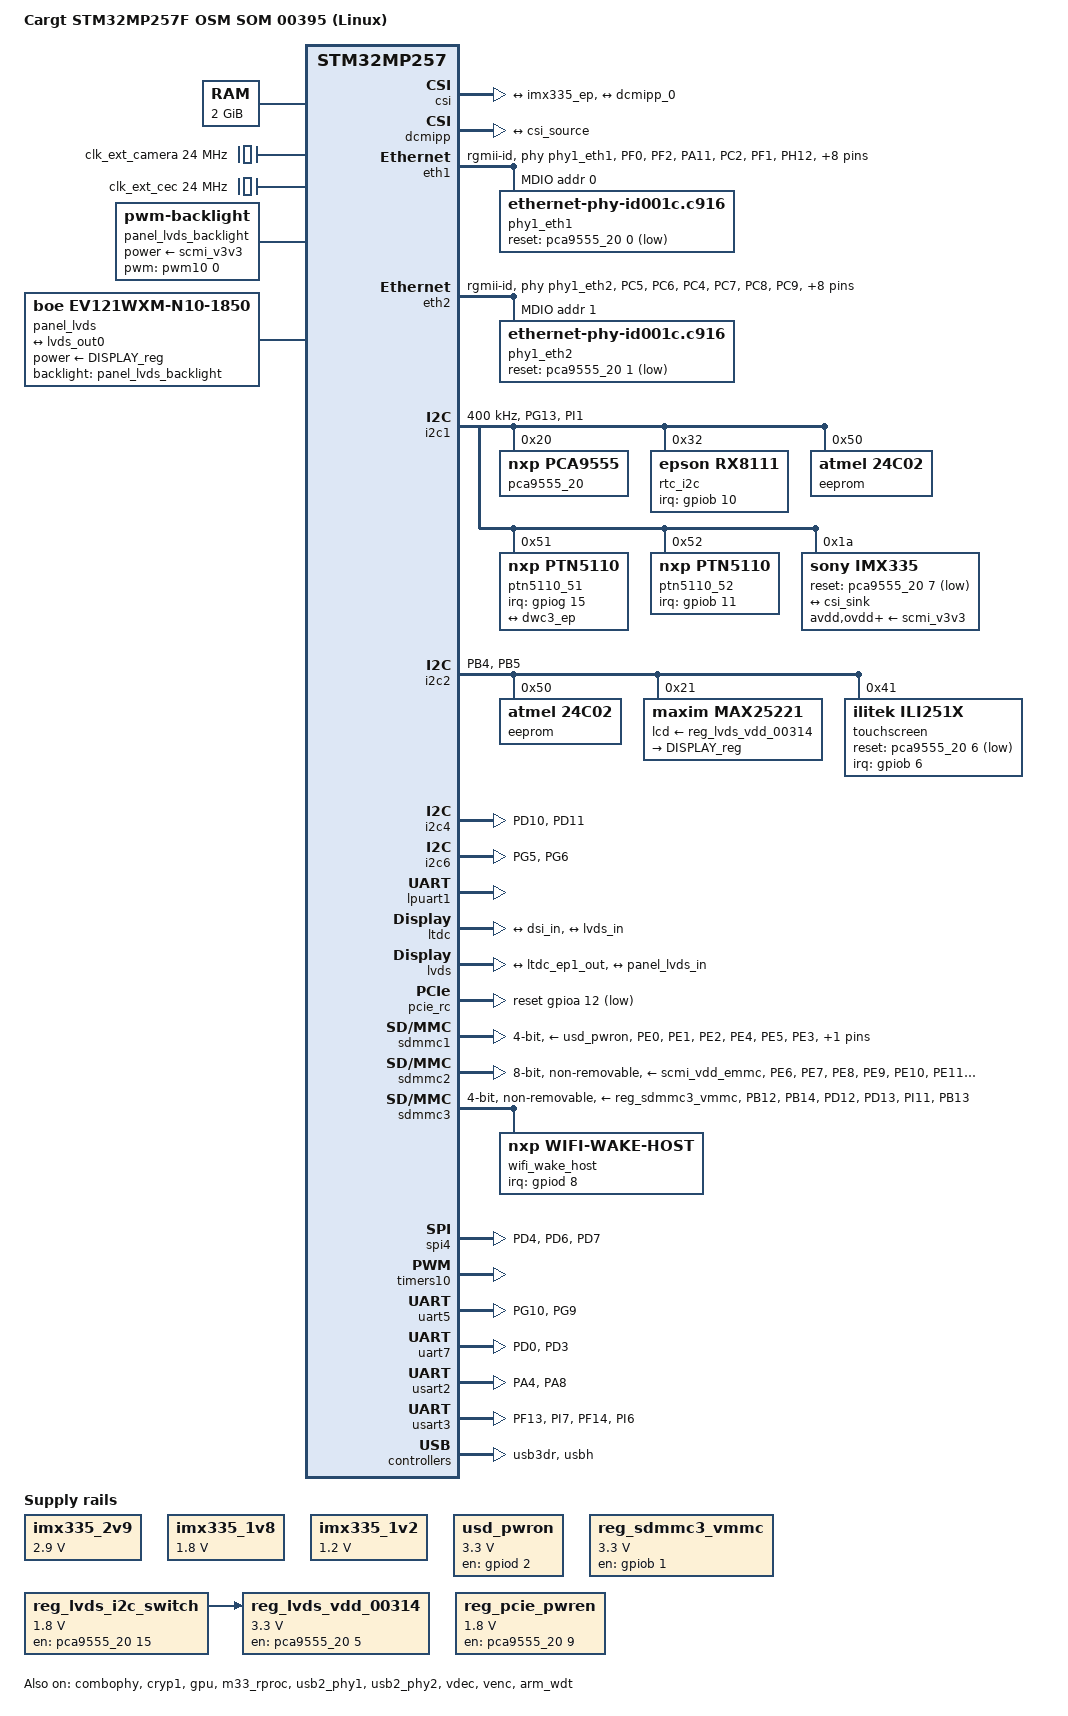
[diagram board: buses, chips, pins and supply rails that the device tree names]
// SPDX-License-Identifier: (GPL-2.0-only OR BSD-3-Clause)
/*
 * Copyright (C) 2025, STMicroelectronics - All Rights Reserved
 * Author: STM32CubeMX code generation for STMicroelectronics.
 */

/* For more information on Device Tree configuration, please refer to
 * https://wiki.st.com/stm32mpu/wiki/Category:Device_tree_configuration
 */

/dts-v1/;

#include <dt-bindings/pinctrl/stm32-pinfunc.h>
#include "stm32mp257.dtsi"
#include "stm32mp25xf.dtsi"
#include "stm32mp257f-cargt-00395-00365v3-resmem.dtsi"
#include "stm32mp25xxak-pinctrl.dtsi"

/* USER CODE BEGIN includes */
#include <dt-bindings/gpio/gpio.h>
#include <dt-bindings/input/input.h>
#include <dt-bindings/leds/common.h>
#include <dt-bindings/rtc/rtc-stm32.h>
#include "dt-bindings/usb/pd.h"
#include <dt-bindings/regulator/st,stm32mp25-regulator.h>
/* USER CODE END includes */

/ {
	model = "STMicroelectronics custom STM32CubeMX board - openstlinux-6.6-yocto-scarthgap-mpu-v25.06.11";
	compatible = "st,stm32mp257f-cargt-00395-00365v3", "st,stm32mp257";

	memory@80000000 {
		device_type = "memory";
		reg = <0x0 0x80000000 0x0 0x80000000>;

		/* USER CODE BEGIN memory */
		/* USER CODE END memory */
	};

	/* USER CODE BEGIN root */
	aliases {
		serial0 = &usart2;
		serial1 = &usart3;
		serial2 = &lpuart1;
		ethernet0 = &eth1;
		ethernet1 = &eth2;
	};

	chosen {
		stdout-path = "serial0:115200n8";
		#address-cells = <2>;
		#size-cells = <2>;
		ranges;

		framebuffer {
			compatible = "simple-framebuffer";
			clocks = <&rcc CK_BUS_LTDC>, <&rcc CK_KER_LTDC>,
				 <&rcc CK_BUS_LVDS>, <&rcc CK_KER_LVDSPHY>;
			status = "disabled";
		};
	};

	imx335_2v9: imx335-2v9 {
		compatible = "regulator-fixed";
		regulator-name = "imx335-avdd";
		regulator-min-microvolt = <2900000>;
		regulator-max-microvolt = <2900000>;
		regulator-always-on;
	};

	imx335_1v8: imx335-1v8 {
		compatible = "regulator-fixed";
		regulator-name = "imx335-ovdd";
		regulator-min-microvolt = <1800000>;
		regulator-max-microvolt = <1800000>;
		regulator-always-on;
	};

	imx335_1v2: imx335-1v2 {
		compatible = "regulator-fixed";
		regulator-name = "imx335-dvdd";
		regulator-min-microvolt = <1200000>;
		regulator-max-microvolt = <1200000>;
		regulator-always-on;
	};

	usd_pwron: usd-pwron {
		compatible = "regulator-fixed";
		regulator-name = "usd-pwron";
		regulator-min-microvolt = <3300000>;
		regulator-max-microvolt = <3300000>;
		gpio = <&gpiod 2 GPIO_ACTIVE_HIGH>;
		enable-active-high;
	};

	reg_sdmmc3_vmmc: regulator-sdmmc3 {
		compatible = "regulator-fixed";
		regulator-name = "WLAN_EN";
		regulator-min-microvolt = <3300000>;
		regulator-max-microvolt = <3300000>;
		gpio = <&gpiob 1 GPIO_ACTIVE_HIGH>;
		startup-delay-us = <20000>;
		enable-active-high;
	};

	/* USER CODE END root */

	clocks{

		/* USER CODE BEGIN clocks */
		clk_ext_camera: clk-ext-camera {
			#clock-cells = <0>;
			compatible = "fixed-clock";
			clock-frequency = <24000000>;
		};

		clk_ext_cec: clk-ext-cec {
			#clock-cells = <0>;
			compatible = "fixed-clock";
			clock-frequency = <24000000>;
		};		
		/* USER CODE END clocks */
	};

}; /*root*/

&pinctrl {

	eth1_mdio_pins_mx: eth1_mdio_mx-0 {
		pins1 {
			pinmux = <STM32_PINMUX('F', 0, AF10)>; /* ETH1_MDC */
			bias-disable;
			drive-push-pull;
			slew-rate = <2>;
			st,io-clk-edge = <0>;
			st,io-retime = <0>;
			st,io-delay-path = <0>;
			st,io-delay = <0>;
		};
		pins2 {
			pinmux = <STM32_PINMUX('F', 2, AF10)>; /* ETH1_MDIO */
			bias-disable;
			drive-push-pull;
			slew-rate = <0>;
			st,io-clk-edge = <0>;
			st,io-retime = <0>;
			st,io-delay-path = <0>;
			st,io-delay = <0>;
		};
	};

	eth1_mdio_sleep_pins_mx: eth1_mdio_sleep_mx-0 {
		pins {
			pinmux = <STM32_PINMUX('F', 0, ANALOG)>, /* ETH1_MDC */
					 <STM32_PINMUX('F', 2, ANALOG)>; /* ETH1_MDIO */
		};
	};

	eth1_rgmii_pins_mx: eth1_rgmii_mx-0 {
		pins1 {
			pinmux = <STM32_PINMUX('A', 11, AF10)>, /* ETH1_RGMII_RX_CTL */
					 <STM32_PINMUX('C', 2, AF10)>, /* ETH1_RGMII_RXD1 */
					 <STM32_PINMUX('F', 1, AF10)>, /* ETH1_RGMII_RXD0 */
					 <STM32_PINMUX('H', 12, AF10)>, /* ETH1_RGMII_RXD2 */
					 <STM32_PINMUX('H', 13, AF10)>; /* ETH1_RGMII_RXD3 */
			bias-disable;
			drive-push-pull;
			st,io-clk-edge = <1>;
			st,io-retime = <1>;
			st,io-delay-path = <0>;
			st,io-delay = <0>;
		};
		pins2 {
			pinmux = <STM32_PINMUX('A', 13, AF10)>, /* ETH1_RGMII_TX_CTL */
					 <STM32_PINMUX('A', 15, AF10)>, /* ETH1_RGMII_TXD0 */
					 <STM32_PINMUX('C', 1, AF10)>, /* ETH1_RGMII_TXD1 */
					 <STM32_PINMUX('H', 10, AF10)>, /* ETH1_RGMII_TXD2 */
					 <STM32_PINMUX('H', 11, AF10)>; /* ETH1_RGMII_TXD3 */
			bias-disable;
			drive-push-pull;
			slew-rate = <2>;
			st,io-clk-edge = <1>;
			st,io-retime = <1>;
			st,io-delay-path = <0>;
			st,io-delay = <0>;
		};
		pins3 {
			pinmux = <STM32_PINMUX('A', 14, AF10)>; /* ETH1_RGMII_RX_CLK */
			bias-disable;
			drive-push-pull;
			slew-rate = <0>;
			st,io-clk-edge = <0>;
			st,io-retime = <0>;
			st,io-delay-path = <0>;
			st,io-delay = <0>;
		};
		pins4 {
			pinmux = <STM32_PINMUX('C', 0, AF12)>; /* ETH1_RGMII_GTX_CLK */
			bias-disable;
			drive-push-pull;
			slew-rate = <1>;
			st,io-clk-edge = <0>;
			st,io-retime = <0>;
			st,io-delay-path = <0>;
			st,io-delay = <0>;
		};
	};

	eth1_rgmii_sleep_pins_mx: eth1_rgmii_sleep_mx-0 {
		pins {
			pinmux = <STM32_PINMUX('A', 11, ANALOG)>, /* ETH1_RGMII_RX_CTL */
					 <STM32_PINMUX('A', 13, ANALOG)>, /* ETH1_RGMII_TX_CTL */
					 <STM32_PINMUX('A', 14, ANALOG)>, /* ETH1_RGMII_RX_CLK */
					 <STM32_PINMUX('A', 15, ANALOG)>, /* ETH1_RGMII_TXD0 */
					 <STM32_PINMUX('C', 0, ANALOG)>, /* ETH1_RGMII_GTX_CLK */
					 <STM32_PINMUX('C', 1, ANALOG)>, /* ETH1_RGMII_TXD1 */
					 <STM32_PINMUX('C', 2, ANALOG)>, /* ETH1_RGMII_RXD1 */
					 <STM32_PINMUX('F', 1, ANALOG)>, /* ETH1_RGMII_RXD0 */
					 <STM32_PINMUX('H', 10, ANALOG)>, /* ETH1_RGMII_TXD2 */
					 <STM32_PINMUX('H', 11, ANALOG)>, /* ETH1_RGMII_TXD3 */
					 <STM32_PINMUX('H', 12, ANALOG)>, /* ETH1_RGMII_RXD2 */
					 <STM32_PINMUX('H', 13, ANALOG)>; /* ETH1_RGMII_RXD3 */
		};
	};

	eth2_mdio_pins_mx: eth2_mdio_mx-0 {
		pins1 {
			pinmux = <STM32_PINMUX('C', 5, AF10)>; /* ETH2_MDIO */
			bias-disable;
			drive-push-pull;
			slew-rate = <0>;
			st,io-clk-edge = <0>;
			st,io-retime = <0>;
			st,io-delay-path = <0>;
			st,io-delay = <0>;
		};
		pins2 {
			pinmux = <STM32_PINMUX('C', 6, AF10)>; /* ETH2_MDC */
			bias-disable;
			drive-push-pull;
			slew-rate = <2>;
			st,io-clk-edge = <0>;
			st,io-retime = <0>;
			st,io-delay-path = <0>;
			st,io-delay = <0>;
		};
	};

	eth2_mdio_sleep_pins_mx: eth2_mdio_sleep_mx-0 {
		pins {
			pinmux = <STM32_PINMUX('C', 5, ANALOG)>, /* ETH2_MDIO */
					 <STM32_PINMUX('C', 6, ANALOG)>; /* ETH2_MDC */
		};
	};

	eth2_rgmii_pins_mx: eth2_rgmii_mx-0 {
		pins1 {
			pinmux = <STM32_PINMUX('C', 4, AF10)>, /* ETH2_RGMII_TX_CTL */
					 <STM32_PINMUX('C', 7, AF10)>, /* ETH2_RGMII_TXD0 */
					 <STM32_PINMUX('C', 8, AF10)>, /* ETH2_RGMII_TXD1 */
					 <STM32_PINMUX('C', 9, AF10)>, /* ETH2_RGMII_TXD2 */
					 <STM32_PINMUX('C', 10, AF10)>; /* ETH2_RGMII_TXD3 */
			bias-disable;
			drive-push-pull;
			slew-rate = <2>;
			st,io-clk-edge = <1>;
			st,io-retime = <1>;
			st,io-delay-path = <0>;
			st,io-delay = <0>;
		};
		pins2 {
			pinmux = <STM32_PINMUX('C', 3, AF10)>, /* ETH2_RGMII_RX_CTL */
					 <STM32_PINMUX('C', 11, AF10)>, /* ETH2_RGMII_RXD3 */
					 <STM32_PINMUX('C', 12, AF10)>, /* ETH2_RGMII_RXD1 */
					 <STM32_PINMUX('F', 9, AF10)>, /* ETH2_RGMII_RXD2 */
					 <STM32_PINMUX('G', 0, AF10)>; /* ETH2_RGMII_RXD0 */
			bias-disable;
			drive-push-pull;
			st,io-clk-edge = <1>;
			st,io-retime = <1>;
			st,io-delay-path = <0>;
			st,io-delay = <0>;
		};
		pins3 {
			pinmux = <STM32_PINMUX('F', 6, AF10)>; /* ETH2_RGMII_RX_CLK */
			bias-disable;
			drive-push-pull;
			slew-rate = <0>;
			st,io-clk-edge = <0>;
			st,io-retime = <0>;
			st,io-delay-path = <0>;
			st,io-delay = <0>;
		};
		pins4 {
			pinmux = <STM32_PINMUX('F', 7, AF10)>; /* ETH2_RGMII_GTX_CLK */
			bias-disable;
			drive-push-pull;
			slew-rate = <1>;
			st,io-clk-edge = <0>;
			st,io-retime = <0>;
			st,io-delay-path = <0>;
			st,io-delay = <0>;
		};
	};

	eth2_rgmii_sleep_pins_mx: eth2_rgmii_sleep_mx-0 {
		pins {
			pinmux = <STM32_PINMUX('C', 3, ANALOG)>, /* ETH2_RGMII_RX_CTL */
					 <STM32_PINMUX('C', 4, ANALOG)>, /* ETH2_RGMII_TX_CTL */
					 <STM32_PINMUX('C', 7, ANALOG)>, /* ETH2_RGMII_TXD0 */
					 <STM32_PINMUX('C', 8, ANALOG)>, /* ETH2_RGMII_TXD1 */
					 <STM32_PINMUX('C', 9, ANALOG)>, /* ETH2_RGMII_TXD2 */
					 <STM32_PINMUX('C', 10, ANALOG)>, /* ETH2_RGMII_TXD3 */
					 <STM32_PINMUX('C', 11, ANALOG)>, /* ETH2_RGMII_RXD3 */
					 <STM32_PINMUX('C', 12, ANALOG)>, /* ETH2_RGMII_RXD1 */
					 <STM32_PINMUX('F', 6, ANALOG)>, /* ETH2_RGMII_RX_CLK */
					 <STM32_PINMUX('F', 7, ANALOG)>, /* ETH2_RGMII_GTX_CLK */
					 <STM32_PINMUX('F', 9, ANALOG)>, /* ETH2_RGMII_RXD2 */
					 <STM32_PINMUX('G', 0, ANALOG)>; /* ETH2_RGMII_RXD0 */
		};
	};

	i2c1_pins_mx: i2c1_mx-0 {
		pins {
			pinmux = <STM32_PINMUX('G', 13, AF9)>, /* I2C1_SCL */
					 <STM32_PINMUX('I', 1, AF9)>; /* I2C1_SDA */
			bias-disable;
			drive-open-drain;
			slew-rate = <0>;
		};
	};

	i2c1_sleep_pins_mx: i2c1_sleep_mx-0 {
		pins {
			pinmux = <STM32_PINMUX('G', 13, ANALOG)>, /* I2C1_SCL */
					 <STM32_PINMUX('I', 1, ANALOG)>; /* I2C1_SDA */
		};
	};

	i2c2_pins_mx: i2c2_mx-0 {
		pins {
			pinmux = <STM32_PINMUX('B', 4, AF9)>, /* I2C2_SDA */
					 <STM32_PINMUX('B', 5, AF9)>; /* I2C2_SCL */
			bias-disable;
			drive-open-drain;
			slew-rate = <0>;
		};
	};

	i2c2_sleep_pins_mx: i2c2_sleep_mx-0 {
		pins {
			pinmux = <STM32_PINMUX('B', 4, ANALOG)>, /* I2C2_SDA */
					 <STM32_PINMUX('B', 5, ANALOG)>; /* I2C2_SCL */
		};
	};

	i2c4_pins_mx: i2c4_mx-0 {
		pins {
			pinmux = <STM32_PINMUX('D', 10, AF6)>, /* I2C4_SDA */
					 <STM32_PINMUX('D', 11, AF6)>; /* I2C4_SCL */
			bias-disable;
			drive-open-drain;
			slew-rate = <0>;
		};
	};

	i2c4_sleep_pins_mx: i2c4_sleep_mx-0 {
		pins {
			pinmux = <STM32_PINMUX('D', 10, ANALOG)>, /* I2C4_SDA */
					 <STM32_PINMUX('D', 11, ANALOG)>; /* I2C4_SCL */
		};
	};

	i2c6_pins_mx: i2c6_mx-0 {
		pins {
			pinmux = <STM32_PINMUX('G', 5, AF9)>, /* I2C6_SDA */
					 <STM32_PINMUX('G', 6, AF9)>; /* I2C6_SCL */
			bias-disable;
			drive-open-drain;
			slew-rate = <0>;
		};
	};

	i2c6_sleep_pins_mx: i2c6_sleep_mx-0 {
		pins {
			pinmux = <STM32_PINMUX('G', 5, ANALOG)>, /* I2C6_SDA */
					 <STM32_PINMUX('G', 6, ANALOG)>; /* I2C6_SCL */
		};
	};

	sdmmc1_pins_mx: sdmmc1_mx-0 {
		pins1 {
			pinmux = <STM32_PINMUX('E', 0, AF10)>, /* SDMMC1_D2 */
					 <STM32_PINMUX('E', 1, AF10)>, /* SDMMC1_D3 */
					 <STM32_PINMUX('E', 2, AF10)>, /* SDMMC1_CMD */
					 <STM32_PINMUX('E', 4, AF10)>, /* SDMMC1_D0 */
					 <STM32_PINMUX('E', 5, AF10)>; /* SDMMC1_D1 */
			bias-pull-up;
			drive-push-pull;
			slew-rate = <1>;
		};
		pins2 {
			pinmux = <STM32_PINMUX('E', 3, AF10)>; /* SDMMC1_CK */
			bias-pull-up;
			drive-push-pull;
			slew-rate = <2>;
		};
	};

	sdmmc1_opendrain_pins_mx: sdmmc1_opendrain_mx-0 {
		pins1 {
			pinmux = <STM32_PINMUX('E', 0, AF10)>, /* SDMMC1_D2 */
					 <STM32_PINMUX('E', 1, AF10)>, /* SDMMC1_D3 */
					 <STM32_PINMUX('E', 4, AF10)>, /* SDMMC1_D0 */
					 <STM32_PINMUX('E', 5, AF10)>; /* SDMMC1_D1 */
			bias-pull-up;
			drive-push-pull;
			slew-rate = <1>;
		};
		pins2 {
			pinmux = <STM32_PINMUX('E', 2, AF10)>; /* SDMMC1_CMD */
			bias-pull-up;
			drive-open-drain;
			slew-rate = <1>;
		};
		pins3 {
			pinmux = <STM32_PINMUX('E', 3, AF10)>; /* SDMMC1_CK */
			bias-pull-up;
			drive-push-pull;
			slew-rate = <2>;
		};
	};

	sdmmc1_sleep_pins_mx: sdmmc1_sleep_mx-0 {
		pins {
			pinmux = <STM32_PINMUX('E', 0, ANALOG)>, /* SDMMC1_D2 */
					 <STM32_PINMUX('E', 1, ANALOG)>, /* SDMMC1_D3 */
					 <STM32_PINMUX('E', 2, ANALOG)>, /* SDMMC1_CMD */
					 <STM32_PINMUX('E', 3, ANALOG)>, /* SDMMC1_CK */
					 <STM32_PINMUX('E', 4, ANALOG)>, /* SDMMC1_D0 */
					 <STM32_PINMUX('E', 5, ANALOG)>; /* SDMMC1_D1 */
		};
	};

	sdmmc2_pins_mx: sdmmc2_mx-0 {
		pins1 {
			pinmux = <STM32_PINMUX('E', 6, AF12)>, /* SDMMC2_D6 */
					 <STM32_PINMUX('E', 7, AF12)>, /* SDMMC2_D7 */
					 <STM32_PINMUX('E', 8, AF12)>, /* SDMMC2_D2 */
					 <STM32_PINMUX('E', 9, AF12)>, /* SDMMC2_D5 */
					 <STM32_PINMUX('E', 10, AF12)>, /* SDMMC2_D4 */
					 <STM32_PINMUX('E', 11, AF12)>, /* SDMMC2_D1 */
					 <STM32_PINMUX('E', 12, AF12)>, /* SDMMC2_D3 */
					 <STM32_PINMUX('E', 13, AF12)>, /* SDMMC2_D0 */
					 <STM32_PINMUX('E', 15, AF12)>; /* SDMMC2_CMD */
			bias-pull-up;
			drive-push-pull;
			slew-rate = <1>;
		};
		pins2 {
			pinmux = <STM32_PINMUX('E', 14, AF12)>; /* SDMMC2_CK */
			bias-pull-up;
			drive-push-pull;
			slew-rate = <2>;
		};
	};

	sdmmc2_opendrain_pins_mx: sdmmc2_opendrain_mx-0 {
		pins1 {
			pinmux = <STM32_PINMUX('E', 6, AF12)>, /* SDMMC2_D6 */
					 <STM32_PINMUX('E', 7, AF12)>, /* SDMMC2_D7 */
					 <STM32_PINMUX('E', 8, AF12)>, /* SDMMC2_D2 */
					 <STM32_PINMUX('E', 9, AF12)>, /* SDMMC2_D5 */
					 <STM32_PINMUX('E', 10, AF12)>, /* SDMMC2_D4 */
					 <STM32_PINMUX('E', 11, AF12)>, /* SDMMC2_D1 */
					 <STM32_PINMUX('E', 12, AF12)>, /* SDMMC2_D3 */
					 <STM32_PINMUX('E', 13, AF12)>; /* SDMMC2_D0 */
			bias-pull-up;
			drive-push-pull;
			slew-rate = <1>;
		};
		pins2 {
			pinmux = <STM32_PINMUX('E', 14, AF12)>; /* SDMMC2_CK */
			bias-pull-up;
			drive-push-pull;
			slew-rate = <2>;
		};
		pins3 {
			pinmux = <STM32_PINMUX('E', 15, AF12)>; /* SDMMC2_CMD */
			bias-pull-up;
			drive-open-drain;
			slew-rate = <1>;
		};
	};

	sdmmc2_sleep_pins_mx: sdmmc2_sleep_mx-0 {
		pins {
			pinmux = <STM32_PINMUX('E', 6, ANALOG)>, /* SDMMC2_D6 */
					 <STM32_PINMUX('E', 7, ANALOG)>, /* SDMMC2_D7 */
					 <STM32_PINMUX('E', 8, ANALOG)>, /* SDMMC2_D2 */
					 <STM32_PINMUX('E', 9, ANALOG)>, /* SDMMC2_D5 */
					 <STM32_PINMUX('E', 10, ANALOG)>, /* SDMMC2_D4 */
					 <STM32_PINMUX('E', 11, ANALOG)>, /* SDMMC2_D1 */
					 <STM32_PINMUX('E', 12, ANALOG)>, /* SDMMC2_D3 */
					 <STM32_PINMUX('E', 13, ANALOG)>, /* SDMMC2_D0 */
					 <STM32_PINMUX('E', 14, ANALOG)>, /* SDMMC2_CK */
					 <STM32_PINMUX('E', 15, ANALOG)>; /* SDMMC2_CMD */
		};
	};

	sdmmc3_pins_mx: sdmmc3_mx-0 {
		pins1 {
			pinmux = <STM32_PINMUX('B', 12, AF10)>, /* SDMMC3_D2 */
					 <STM32_PINMUX('B', 14, AF10)>, /* SDMMC3_D0 */
					 <STM32_PINMUX('D', 12, AF10)>, /* SDMMC3_CMD */
					 <STM32_PINMUX('D', 13, AF10)>, /* SDMMC3_D1 */
					 <STM32_PINMUX('I', 11, AF10)>; /* SDMMC3_D3 */
			bias-pull-up;
			drive-push-pull;
			slew-rate = <0>;
		};
		pins2 {
			pinmux = <STM32_PINMUX('B', 13, AF10)>; /* SDMMC3_CK */
			bias-pull-up;
			drive-push-pull;
			slew-rate = <1>;
		};
	};

	sdmmc3_opendrain_pins_mx: sdmmc3_opendrain_mx-0 {
		pins1 {
			pinmux = <STM32_PINMUX('B', 12, AF10)>, /* SDMMC3_D2 */
					 <STM32_PINMUX('B', 14, AF10)>, /* SDMMC3_D0 */
					 <STM32_PINMUX('D', 13, AF10)>, /* SDMMC3_D1 */
					 <STM32_PINMUX('I', 11, AF10)>; /* SDMMC3_D3 */
			bias-pull-up;
			drive-push-pull;
			slew-rate = <0>;
		};
		pins2 {
			pinmux = <STM32_PINMUX('B', 13, AF10)>; /* SDMMC3_CK */
			bias-pull-up;
			drive-push-pull;
			slew-rate = <1>;
		};
		pins3 {
			pinmux = <STM32_PINMUX('D', 12, AF10)>; /* SDMMC3_CMD */
			bias-pull-up;
			drive-open-drain;
			slew-rate = <0>;
		};
	};

	sdmmc3_sleep_pins_mx: sdmmc3_sleep_mx-0 {
		pins {
			pinmux = <STM32_PINMUX('B', 12, ANALOG)>, /* SDMMC3_D2 */
					 <STM32_PINMUX('B', 13, ANALOG)>, /* SDMMC3_CK */
					 <STM32_PINMUX('B', 14, ANALOG)>, /* SDMMC3_D0 */
					 <STM32_PINMUX('D', 12, ANALOG)>, /* SDMMC3_CMD */
					 <STM32_PINMUX('D', 13, ANALOG)>, /* SDMMC3_D1 */
					 <STM32_PINMUX('I', 11, ANALOG)>; /* SDMMC3_D3 */
		};
	};

	spi4_pins_mx: spi4_mx-0 {
		pins {
			pinmux = <STM32_PINMUX('D', 4, AF1)>, /* SPI4_MISO */
					 <STM32_PINMUX('D', 6, AF1)>, /* SPI4_MOSI */
					 <STM32_PINMUX('D', 7, AF1)>; /* SPI4_SCK */
			bias-disable;
			drive-push-pull;
			slew-rate = <0>;
		};
	};

	spi4_sleep_pins_mx: spi4_sleep_mx-0 {
		pins {
			pinmux = <STM32_PINMUX('D', 4, ANALOG)>, /* SPI4_MISO */
					 <STM32_PINMUX('D', 6, ANALOG)>, /* SPI4_MOSI */
					 <STM32_PINMUX('D', 7, ANALOG)>; /* SPI4_SCK */
		};
	};

	tim10_pwm_pins_mx: tim10_pwm_mx-0 {
		pins {
			pinmux = <STM32_PINMUX('B', 9, AF9)>; /* TIM10_CH1 */
			bias-disable;
			drive-push-pull;
			slew-rate = <0>;
		};
	};

	tim10_pwm_sleep_pins_mx: tim10_pwm_sleep_mx-0 {
		pins {
			pinmux = <STM32_PINMUX('B', 9, ANALOG)>; /* TIM10_CH1 */
		};
	};

	uart5_pins_mx: uart5_mx-0 {
		pins1 {
			pinmux = <STM32_PINMUX('G', 10, AF5)>; /* UART5_RX */
			bias-disable;
			drive-push-pull;
		};
		pins2 {
			pinmux = <STM32_PINMUX('G', 9, AF5)>; /* UART5_TX */
			bias-disable;
			drive-push-pull;
			slew-rate = <0>;
		};
	};

	uart5_idle_pins_mx: uart5_idle_mx-0 {
		pins1 {
			pinmux = <STM32_PINMUX('G', 10, AF5)>; /* UART5_RX */
			bias-disable;
			drive-push-pull;
		};
		pins2 {
			pinmux = <STM32_PINMUX('G', 9, ANALOG)>; /* UART5_TX */
		};
	};

	uart5_sleep_pins_mx: uart5_sleep_mx-0 {
		pins {
			pinmux = <STM32_PINMUX('G', 9, ANALOG)>, /* UART5_TX */
					 <STM32_PINMUX('G', 10, ANALOG)>; /* UART5_RX */
		};
	};

	uart7_pins_mx: uart7_mx-0 {
		pins1 {
			pinmux = <STM32_PINMUX('D', 0, AF6)>; /* UART7_RX */
			bias-disable;
			drive-push-pull;
		};
		pins2 {
			pinmux = <STM32_PINMUX('D', 3, AF6)>; /* UART7_TX */
			bias-disable;
			drive-push-pull;
			slew-rate = <0>;
		};
	};

	uart7_idle_pins_mx: uart7_idle_mx-0 {
		pins1 {
			pinmux = <STM32_PINMUX('D', 0, AF6)>; /* UART7_RX */
			bias-disable;
			drive-push-pull;
		};
		pins2 {
			pinmux = <STM32_PINMUX('D', 3, ANALOG)>; /* UART7_TX */
		};
	};

	uart7_sleep_pins_mx: uart7_sleep_mx-0 {
		pins {
			pinmux = <STM32_PINMUX('D', 0, ANALOG)>, /* UART7_RX */
					 <STM32_PINMUX('D', 3, ANALOG)>; /* UART7_TX */
		};
	};

	usart2_pins_mx: usart2_mx-0 {
		pins1 {
			pinmux = <STM32_PINMUX('A', 4, AF6)>; /* USART2_TX */
			bias-disable;
			drive-push-pull;
			slew-rate = <0>;
		};
		pins2 {
			pinmux = <STM32_PINMUX('A', 8, AF8)>; /* USART2_RX */
			bias-disable;
			drive-push-pull;
		};
	};

	usart2_idle_pins_mx: usart2_idle_mx-0 {
		pins1 {
			pinmux = <STM32_PINMUX('A', 4, ANALOG)>; /* USART2_TX */
		};
		pins2 {
			pinmux = <STM32_PINMUX('A', 8, AF8)>; /* USART2_RX */
			bias-disable;
			drive-push-pull;
		};
	};

	usart2_sleep_pins_mx: usart2_sleep_mx-0 {
		pins {
			pinmux = <STM32_PINMUX('A', 4, ANALOG)>, /* USART2_TX */
					 <STM32_PINMUX('A', 8, ANALOG)>; /* USART2_RX */
		};
	};

	usart3_pins_mx: usart3_mx-0 {
		pins1 {
			pinmux = <STM32_PINMUX('F', 13, AF6)>, /* USART3_CTS */
					 <STM32_PINMUX('I', 7, AF6)>; /* USART3_RX */
			bias-disable;
			drive-push-pull;
		};
		pins2 {
			pinmux = <STM32_PINMUX('F', 14, AF6)>, /* USART3_RTS */
					 <STM32_PINMUX('I', 6, AF6)>; /* USART3_TX */
			bias-disable;
			drive-push-pull;
			slew-rate = <0>;
		};
	};

	usart3_idle_pins_mx: usart3_idle_mx-0 {
		pins1 {
			pinmux = <STM32_PINMUX('F', 13, ANALOG)>, /* USART3_CTS */
					 <STM32_PINMUX('I', 6, ANALOG)>; /* USART3_TX */
		};
		pins2 {
			pinmux = <STM32_PINMUX('F', 14, AF6)>; /* USART3_RTS */
			bias-disable;
			drive-push-pull;
			slew-rate = <0>;
		};
		pins3 {
			pinmux = <STM32_PINMUX('I', 7, AF6)>; /* USART3_RX */
			bias-disable;
			drive-push-pull;
		};
	};

	usart3_sleep_pins_mx: usart3_sleep_mx-0 {
		pins {
			pinmux = <STM32_PINMUX('F', 13, ANALOG)>, /* USART3_CTS */
					 <STM32_PINMUX('F', 14, ANALOG)>, /* USART3_RTS */
					 <STM32_PINMUX('I', 6, ANALOG)>, /* USART3_TX */
					 <STM32_PINMUX('I', 7, ANALOG)>; /* USART3_RX */
		};
	};

	/* USER CODE BEGIN pinctrl */

	
	ptn5110_51_pins: ptn5110_51_pins-0 {
		pins {															
			pinmux = <STM32_PINMUX('G', 15, GPIO)>; /* USB_A_nALERT_1V8 */		
			bias-pull-up;
		};																
	};
	
	ptn5110_52_pins: ptn5110_52_pins-0 {
		pins {															
			pinmux = <STM32_PINMUX('B', 11, GPIO)>; /* USB_C_nALERT_1V8 */		
			bias-pull-up;
		};																
	};
	
	pinctrl_lvds_touchscreen: pinctrl_lvds_touchscreen-0 {
		pins {															
			pinmux = <STM32_PINMUX('B', 6, GPIO)>; /* LVDSCT_nINT */		
		};																
	};						

	pinctrl_dsi_touchscreen: pinctrl_dsi_touchscreen-0 {
		pins {															
			pinmux = <STM32_PINMUX('B', 3, GPIO)>; /* DSICT_nINT */		
		};																
	};	

	pinctrl_rtc: pinctrl_rtc-0 {
		pins {															
			pinmux = <STM32_PINMUX('B', 10, GPIO)>; /* RTC_nINT */		
			bias-pull-up;
		};	
	};

	/* USER CODE END pinctrl */
};

&pinctrl_z {

	lpuart1_pins_z_mx: lpuart1_mx-0 {
		pins {
			pinmux = <STM32_PINMUX('Z', 0, AF6)>, /* LPUART1_TX */
					 <STM32_PINMUX('Z', 1, AF6)>, /* LPUART1_RX */
					 <STM32_PINMUX('Z', 2, AF6)>, /* LPUART1_RTS */
					 <STM32_PINMUX('Z', 3, AF6)>; /* LPUART1_CTS */
			bias-disable;
			drive-push-pull;
			slew-rate = <0>;
		};
	};

	lpuart1_sleep_pins_z_mx: lpuart1_sleep_mx-0 {
		pins {
			pinmux = <STM32_PINMUX('Z', 0, ANALOG)>, /* LPUART1_TX */
					 <STM32_PINMUX('Z', 1, ANALOG)>, /* LPUART1_RX */
					 <STM32_PINMUX('Z', 2, ANALOG)>, /* LPUART1_RTS */
					 <STM32_PINMUX('Z', 3, ANALOG)>; /* LPUART1_CTS */
		};
	};

	/* USER CODE BEGIN pinctrl_z */
	/* USER CODE END pinctrl_z */
};

&combophy {
	status = "okay";

	/* USER CODE BEGIN combophy */
	clocks = <&rcc CK_BUS_USB3PCIEPHY>, <&rcc CK_KER_USB3PCIEPHY>;
	clock-names = "apb-clk", "ker-clk";
	st,rx_equalizer = <1>;
	/* USER CODE END combophy */
};

&cryp1 {
	status = "okay";

	/* USER CODE BEGIN cryp1 */
	/* USER CODE END cryp1 */
};

&csi {
	status = "okay";

	/* USER CODE BEGIN csi */
	vdd-supply =  <&scmi_vddcore>;
	vdda18-supply = <&scmi_v1v8>;
	ports {
		#address-cells = <1>;
		#size-cells = <0>;
		port@0 {
			reg = <0>;
			csi_sink: endpoint {
				remote-endpoint = <&imx335_ep>;
				data-lanes = <1 2>;
				bus-type = <4>;
			};
		};
		port@1 {
			reg = <1>;
			csi_source: endpoint {
				remote-endpoint = <&dcmipp_0>;
			};
		};
	};
	/* USER CODE END csi */
};

&dcmipp {
	status = "okay";

	/* USER CODE BEGIN dcmipp */
	port {
		dcmipp_0: endpoint {
			remote-endpoint = <&csi_source>;
			bus-type = <4>;
		};
	};	
	/* USER CODE END dcmipp */
};

&dsi {
	status = "okay";

	/* USER CODE BEGIN dsi */
	vdd-supply =  <&scmi_vddcore>;
	vdda18-supply = <&scmi_v1v8>;
	ports {
		#address-cells = <1>;
		#size-cells = <0>;

		port@0 {
			reg = <0>;
			dsi_in: endpoint {
				remote-endpoint = <&ltdc_ep0_out>;
			};
		};
	};
	/* USER CODE END dsi */
};

&eth1 {
	pinctrl-names = "default", "sleep";
	pinctrl-0 = <&eth1_mdio_pins_mx>, <&eth1_rgmii_pins_mx>;
	pinctrl-1 = <&eth1_mdio_sleep_pins_mx>, <&eth1_rgmii_sleep_pins_mx>;
	status = "okay";

	/* USER CODE BEGIN eth1 */
	pinctrl-names = "default", "sleep";
	phy-mode = "rgmii-id";
	max-speed = <1000>;
	phy-handle = <&phy1_eth1>;
	st,eth-ptp-from-rcc;
	st,eth-clk-sel;
	snps,ext-systime;

	mdio1 {
		#address-cells = <1>;
		#size-cells = <0>;
		compatible = "snps,dwmac-mdio";
		phy1_eth1: ethernet-phy@0 {
			compatible = "ethernet-phy-id001c.c916";
			reset-gpios =  <&pca9555_20 0 GPIO_ACTIVE_LOW>;
			reset-assert-us = <10000>;
			reset-deassert-us = <80000>;
			realtek,eee-disable;
			reg = <0>;
		};
	};	
	/* USER CODE END eth1 */
};

&eth2 {
	pinctrl-names = "default", "sleep";
	pinctrl-0 = <&eth2_mdio_pins_mx>, <&eth2_rgmii_pins_mx>;
	pinctrl-1 = <&eth2_mdio_sleep_pins_mx>, <&eth2_rgmii_sleep_pins_mx>;
	status = "okay";

	/* USER CODE BEGIN eth2 */
	phy-mode = "rgmii-id";
	max-speed = <1000>;
	phy-handle = <&phy1_eth2>;
	st,eth-ptp-from-rcc;
	st,eth-clk-sel;
	snps,ext-systime;

	mdio1 {
		#address-cells = <1>;
		#size-cells = <0>;
		compatible = "snps,dwmac-mdio";
		phy1_eth2: ethernet-phy@1 {
			compatible = "ethernet-phy-id001c.c916";
			reset-gpios =  <&pca9555_20 1 GPIO_ACTIVE_LOW>;
			reset-assert-us = <10000>;
			reset-deassert-us = <80000>;
			realtek,eee-disable;
			reg = <1>;
		};
	};	
	/* USER CODE END eth2 */
};

&gpu {
	status = "okay";

	/* USER CODE BEGIN gpu */
	contiguous-area = <&gpu_reserved>;
	/* USER CODE END gpu */
};

&hpdma {
	status = "okay";

	/* USER CODE BEGIN hpdma */
	memory-region = <&hpdma1_lli>;
	/* USER CODE END hpdma */
};

&hpdma2 {
	status = "okay";

	/* USER CODE BEGIN hpdma2 */
	memory-region = <&hpdma2_lli>;
	/* USER CODE END hpdma2 */
};

&hpdma3 {
	status = "okay";

	/* USER CODE BEGIN hpdma3 */
	memory-region = <&hpdma3_lli>;
	/* USER CODE END hpdma3 */
};

&i2c1 {
	pinctrl-names = "default", "sleep";
	pinctrl-0 = <&i2c1_pins_mx>;
	pinctrl-1 = <&i2c1_sleep_pins_mx>;
	status = "okay";

	/* USER CODE BEGIN i2c1 */
	i2c-scl-rising-time-ns = <108>;
	i2c-scl-falling-time-ns = <12>;
	clock-frequency = <400000>;
	status = "okay";
	/* spare dmas for other usage */
	/delete-property/dmas;
	/delete-property/dma-names;

	pca9555_20: pca9555@20 {
		compatible = "nxp,pca9555";
		gpio-controller;
		#gpio-cells = <2>;
		reg = <0x20>;
		gpio-line-names =
			"pca9555_20-0",	"pca9555_20-1",	"pca9555_20-2",	"pca9555_20-3", 	// 0-3
			"pca9555_20-4",	"pca9555_20-5",	"pca9555_20-6",	"pca9555_20-7",		// 4-7
			"pca9555_20-8",	"pca9555_20-9",	"pca9555_20-10","pca9555_20-11", 	// 8-11
			"pca9555_20-12","pca9555_20-13","pca9555_20-14","pca9555_20-15"; 	// 12-15		
	};

	rtc_i2c: rtc@32 {
		compatible ="epson,rx8111";
		pinctrl-names = "default";
		pinctrl-0 = <&pinctrl_rtc>;
		interrupt-parent = <&gpiob>;
        interrupts = <10 GPIO_ACTIVE_LOW>;
		reg = <0x32>;
	};	
	
	eeprom@50 {
		compatible = "atmel,24c02";
		reg = <0x50>;
		pagesize = <16>;		
		status = "okay";
	};

	ptn5110_51: tcpc@51 {
		compatible = "nxp,ptn5110";
		reg = <0x51>;
		pinctrl-0 = <&ptn5110_51_pins>;
		interrupt-parent = <&gpiog>;
		interrupts = <15 IRQ_TYPE_LEVEL_LOW>;
		status = "okay";

		usbc_a_con: connector {
			compatible = "usb-c-connector";
			label = "USB-C(A)";
			power-role = "dual";
			data-role = "dual";
			try-power-role = "sink";
			source-pdos = <PDO_FIXED(5000, 3000, PDO_FIXED_USB_COMM)>;
			sink-pdos = <PDO_FIXED(5000, 3000, PDO_FIXED_USB_COMM)
				     PDO_VAR(5000, 20000, 3000)>;
			op-sink-microwatt = <15000000>;
			self-powered;
			status = "okay";

			port {
				typec_a_ep: endpoint {
					remote-endpoint = <&dwc3_ep>;
				};
			};
		};
	};

	ptn5110_52: tcpc@52 {
		compatible = "nxp,ptn5110";
		reg = <0x52>;
		pinctrl-0 = <&ptn5110_52_pins>;
		interrupt-parent = <&gpiob>;
		interrupts = <11 IRQ_TYPE_LEVEL_LOW>;
		status = "okay";

		usbc_c_con: connector {
			compatible = "usb-c-connector";
			label = "USB-C(C)";
			power-role = "source";
			data-role = "host";
			source-pdos = <PDO_FIXED(5000, 3000, PDO_FIXED_USB_COMM)>;
			self-powered;
			status = "okay";
		};
	};

	imx335: camera@1a {
		compatible = "sony,imx335";
		reg = <0x1a>;
		clocks = <&clk_ext_camera>;
		avdd-supply = <&scmi_v3v3>;
		ovdd-supply = <&scmi_v3v3>;
		dvdd-supply = <&scmi_v3v3>;
		reset-gpios = <&pca9555_20 7 GPIO_ACTIVE_LOW>;
		status = "okay";

		port {
			imx335_ep: endpoint {
				remote-endpoint = <&csi_sink>;
				clock-lanes = <0>;
				data-lanes = <1 2>;
				link-frequencies = /bits/ 64 <594000000>;
			};
		};
	};	

	/* USER CODE END i2c1 */
};

&i2c2 {
	pinctrl-names = "default", "sleep";
	pinctrl-0 = <&i2c2_pins_mx>;
	pinctrl-1 = <&i2c2_sleep_pins_mx>;
	status = "okay";

	/* USER CODE BEGIN i2c2 */
/*
	// gt911@5d {
	lvds_touchscreen@5d {
		compatible = "goodix,gt911";
		reg = <0x5d>;
		// reg = <0x14>;
		pinctrl-0 = <&pinctrl_lvds_touchscreen>;			
		interrupt-parent = <&gpiob>;
		interrupts = <6 IRQ_TYPE_EDGE_FALLING>;
		irq-gpios = <&gpiob 6 GPIO_ACTIVE_HIGH>;	//the driver uses this line to set the i2c address during initialization
		reset-gpios = <&pca9555_20 6 GPIO_ACTIVE_LOW>;
		status = "okay";
	};	
*/
	/* eeprom on display */
	eeprom@50 {
		compatible = "atmel,24c02";
		reg = <0x50>;
		pagesize = <16>;		
		status = "okay";
	};

	max25221: max25221@21 {
		compatible = "maxim,max25221";
		reg = <0x21>;
		lcd-supply = <&reg_lvds_vdd_00314>;
		status = "okay";

		regulators {
			DISPLAY_reg: DISPLAY {
				regulator-name = "DISPLAY";
			};
		};
	};

	touchscreen@41 {
		compatible = "ilitek,ili251x";
		reg = <0x41>;
		pinctrl-names = "default";
		pinctrl-0 =<&pinctrl_lvds_touchscreen>;
		interrupt-parent = <&gpiob>;
		interrupts = <6 IRQ_TYPE_EDGE_FALLING>;
		reset-gpios = <&pca9555_20 6 GPIO_ACTIVE_LOW>;
		// touchscreen-size-x = <1280>;
		// touchscreen-size-y = <800>;
	};
/* 
	dsi_touchscreen@41 {
		compatible = "ilitek,ili2520";
		reg = <0x41>;

		pinctrl-0 = <&pinctrl_dsi_touchscreen>;
		reset-gpios = <&pca9555_20 4 GPIO_ACTIVE_LOW>;
		interrupt-parent = <&gpiob>;
		interrupts = <3 IRQ_TYPE_LEVEL_LOW>;
		touchscreen-swapped-x-y;
		touchscreen-inverted-x;
		wakeup-source;
	};
*/
	/* USER CODE END i2c2 */
};

&i2c4 {
	pinctrl-names = "default", "sleep";
	pinctrl-0 = <&i2c4_pins_mx>;
	pinctrl-1 = <&i2c4_sleep_pins_mx>;
	status = "okay";

	/* USER CODE BEGIN i2c4 */
	/* USER CODE END i2c4 */
};

&i2c6 {
	pinctrl-names = "default", "sleep";
	pinctrl-0 = <&i2c6_pins_mx>;
	pinctrl-1 = <&i2c6_sleep_pins_mx>;
	status = "okay";

	/* USER CODE BEGIN i2c6 */
	/* USER CODE END i2c6 */
};

&ipcc1 {
	status = "okay";

	/* USER CODE BEGIN ipcc1 */
	/* USER CODE END ipcc1 */
};

&lpuart1 {
	pinctrl-names = "default", "sleep";
	pinctrl-0 = <&lpuart1_pins_z_mx>;
	pinctrl-1 = <&lpuart1_sleep_pins_z_mx>;
	status = "okay";

	/* USER CODE BEGIN lpuart1 */
	/delete-property/dmas;
	/delete-property/dma-names;
	uart-has-rtscts;
	bluetooth {
 		compatibility = "nxp,88w8987-bt";
 		fw-init-baudrate = <3000000>;
 	};
	/* USER CODE END lpuart1 */
};

&ltdc {
	status = "okay";

	/* USER CODE BEGIN ltdc */
	default-on;
	rotation-memory = <&ltdc_sec_rotation>;

	port {
		#address-cells = <1>;
		#size-cells = <0>;

		ltdc_ep0_out: endpoint@0 {
			reg = <0>;
			remote-endpoint = <&dsi_in>;
		};

		ltdc_ep1_out: endpoint@1 {
			reg = <1>;
			remote-endpoint = <&lvds_in>;
		};

	};
	/* USER CODE END ltdc */
};

&lvds {
	status = "okay";

	/* USER CODE BEGIN lvds */
	
	default-on;
	vdd-supply =  <&scmi_vddcore>;
	vdda18-supply = <&scmi_v1v8>;

	ports {
		#address-cells = <1>;
		#size-cells = <0>;

		port@0 {
			reg = <0>;
			lvds_in: endpoint {
				remote-endpoint = <&ltdc_ep1_out>;
			};
		};

		port@1 {
			reg = <1>;
			lvds_out0: endpoint {
				remote-endpoint = <&panel_lvds_in>;
			};
		};
	};	

	/* USER CODE END lvds */
};

&m33_rproc {
	status = "okay";

	/*Restriction: "memory-region" property is not managed - please to use User-Section if needed*/
	mboxes = <&ipcc1 0x100>, <&ipcc1 0x101>, <&ipcc1 2>;
	mbox-names = "vq0", "vq1", "shutdown";

	/* USER CODE BEGIN m33_rproc */
	/* USER CODE END m33_rproc */
};

&pcie_rc {
	status = "okay";

	/* USER CODE BEGIN pcie_rc */
	power-supply = <&reg_pcie_pwren>;
	reset-gpios = <&gpioa 12 GPIO_ACTIVE_LOW>;
	wakeup-source;
	wake-gpios = <&gpioh 9 (GPIO_ACTIVE_LOW | GPIO_PULL_UP)>;	
	/* USER CODE END pcie_rc */
};

&sdmmc1 {
	pinctrl-names = "default", "opendrain", "sleep";
	pinctrl-0 = <&sdmmc1_pins_mx>;
	pinctrl-1 = <&sdmmc1_opendrain_pins_mx>;
	pinctrl-2 = <&sdmmc1_sleep_pins_mx>;
	status = "okay";

	/* USER CODE BEGIN sdmmc1 */
	cd-gpios = <&gpiod 9 (GPIO_ACTIVE_LOW)>;
	disable-wp;
	st,neg-edge;
	bus-width = <4>;
	vmmc-supply = <&usd_pwron>;
	vqmmc-supply = <&scmi_vddio1>;
	sd-uhs-sdr12;
	sd-uhs-sdr25;
	sd-uhs-sdr50;
	sd-uhs-ddr50;
	sd-uhs-sdr104;
	/* USER CODE END sdmmc1 */
};

&sdmmc2 {
	pinctrl-names = "default", "opendrain", "sleep";
	pinctrl-0 = <&sdmmc2_pins_mx>;
	pinctrl-1 = <&sdmmc2_opendrain_pins_mx>;
	pinctrl-2 = <&sdmmc2_sleep_pins_mx>;
	status = "okay";

	/* USER CODE BEGIN sdmmc2 */
	non-removable;
	no-sd;
	no-sdio;
	st,neg-edge;
	bus-width = <8>;
	vmmc-supply = <&scmi_vdd_emmc>;
	vqmmc-supply = <&scmi_vddio2>;
	mmc-ddr-1_8v;
	mmc-hs200-1_8v;
	/* USER CODE END sdmmc2 */
};

&sdmmc3 {
	pinctrl-names = "default", "opendrain", "sleep";
	pinctrl-0 = <&sdmmc3_pins_mx>;
	pinctrl-1 = <&sdmmc3_opendrain_pins_mx>;
	pinctrl-2 = <&sdmmc3_sleep_pins_mx>;
	status = "okay";

	/* USER CODE BEGIN sdmmc3 */
	non-removable;
	st,neg-edge;
	bus-width = <4>;
	vmmc-supply = <&reg_sdmmc3_vmmc>;
	cap-power-off-card;
	keep-power-in-suspend;

	#address-cells = <1>;
	#size-cells = <0>;

	wifi_wake_host {
		compatible = "nxp,wifi-wake-host";
		interrupt-parent = <&gpiod>;
		interrupts = <8 IRQ_TYPE_LEVEL_LOW>;
		interrupt-names = "host-wake";
	};
	/* USER CODE END sdmmc3 */
};

&spi4 {
	pinctrl-names = "default", "sleep";
	pinctrl-0 = <&spi4_pins_mx>;
	pinctrl-1 = <&spi4_sleep_pins_mx>;
	status = "okay";

	/* USER CODE BEGIN spi4 */
	/* USER CODE END spi4 */
};

&timers10 {
	pinctrl-names = "default", "sleep";
	pinctrl-0 = <&tim10_pwm_pins_mx>;
	pinctrl-1 = <&tim10_pwm_sleep_pins_mx>;
	status = "okay";

	/* USER CODE BEGIN timers10 */
	/* USER CODE END timers10 */
};

&uart5 {
	pinctrl-names = "default", "idle", "sleep";
	pinctrl-0 = <&uart5_pins_mx>;
	pinctrl-1 = <&uart5_idle_pins_mx>;
	pinctrl-2 = <&uart5_sleep_pins_mx>;
	status = "okay";

	/* USER CODE BEGIN uart5 */
	/* USER CODE END uart5 */
};

&uart7 {
	pinctrl-names = "default", "idle", "sleep";
	pinctrl-0 = <&uart7_pins_mx>;
	pinctrl-1 = <&uart7_idle_pins_mx>;
	pinctrl-2 = <&uart7_sleep_pins_mx>;
	status = "okay";

	/* USER CODE BEGIN uart7 */
	/* USER CODE END uart7 */
};

&usart2 {
	pinctrl-names = "default", "idle", "sleep";
	pinctrl-0 = <&usart2_pins_mx>;
	pinctrl-1 = <&usart2_idle_pins_mx>;
	pinctrl-2 = <&usart2_sleep_pins_mx>;
	status = "okay";

	/* USER CODE BEGIN usart2 */
	/* USER CODE END usart2 */
};

&usart3 {
	pinctrl-names = "default", "idle", "sleep";
	pinctrl-0 = <&usart3_pins_mx>;
	pinctrl-1 = <&usart3_idle_pins_mx>;
	pinctrl-2 = <&usart3_sleep_pins_mx>;
	status = "okay";

	/* USER CODE BEGIN usart3 */
	/* USER CODE END usart3 */
};

&usb2_phy1 {
	status = "okay";

	/* USER CODE BEGIN usb2_phy1 */
	vdd33-supply = <&scmi_vdd3v3_usb>;
	/* USER CODE END usb2_phy1 */
};

&usb2_phy2 {
	status = "okay";

	/* USER CODE BEGIN usb2_phy2 */
	vdd33-supply = <&scmi_vdd3v3_usb>;
	/* USER CODE END usb2_phy2 */
};

&usb3dr {
	status = "okay";

	/* USER CODE BEGIN usb3dr */
	dwc3: usb@48300000 {
		maximum-speed 	= "high-speed";
		usb-role-switch;
		port {
			dwc3_ep: endpoint {
				remote-endpoint = <&typec_a_ep>;
			};
		};
	};	
	/* USER CODE END usb3dr */
};

&usbh {
	status = "okay";

	/* USER CODE BEGIN usbh */
	/* USER CODE END usbh */
};

&vdec {
	status = "okay";

	/* USER CODE BEGIN vdec */
	/* USER CODE END vdec */
};

&venc {
	status = "okay";

	/* USER CODE BEGIN venc */
	/* USER CODE END venc */
};

/* USER CODE BEGIN addons */
/ {
	model = "Cargt STM32MP257F OSM SOM 00395 (Linux)";

	
	panel_lvds_backlight: panel-lvds-backlight {
		compatible = "pwm-backlight";
		pwms = <&pwm10 0 1000000 0>;
		brightness-levels = <0 100>;
		num-interpolated-steps = <100>;
		default-brightness-level = <80>;
		power-supply = <&scmi_v3v3>;
		status = "okay";
	};

/*
	panel_lvds_backlight: panel-lvds-backlight {
		compatible = "gpio-backlight";
		gpios = <&gpiob 9 GPIO_ACTIVE_HIGH>;
		default-on;
		default-brightness-level = <1>;
		status = "okay";
	};
*/
/*
	panel_dsi_backlight: panel-dsi-backlight {
		compatible = "pwm-backlight";
		pwms = <&pwm12 1 1000000 0>;
		brightness-levels = <0 16 22 30 40 55 75 102 138 188 255>;
		default-brightness-level = <10>;
		power-supply = <&scmi_v3v3>;
		status = "okay";
	};

	panel_dsi_backlight: panel-dsi-backlight {
		compatible = "gpio-backlight";
		gpios = <&gpiof 8 GPIO_ACTIVE_HIGH>;
		default-on;
		default-brightness-level = <1>;
		status = "okay";
	};
*/
/*
	reg_lvds_vdd: regulator-lvds-vdd {
		compatible = "regulator-fixed";
		regulator-name = "lvds_vdd";
		regulator-min-microvolt = <1800000>;
		regulator-max-microvolt = <1800000>;
		gpio = <&pca9555_20 5 GPIO_ACTIVE_HIGH>;
		enable-active-high;
		status = "disalbed";
	};	
*/
	reg_lvds_i2c_switch: regulator-lvds-i2c-switch {
		compatible = "regulator-fixed";
		regulator-name = "lvds_i2c_sw";
		regulator-min-microvolt = <1800000>;
		regulator-max-microvolt = <1800000>;
		gpio = <&pca9555_20 15 GPIO_ACTIVE_HIGH>;
		enable-active-high;
		regulator-always-on;
		status = "okay";
	};	

	reg_lvds_vdd_00314: regulator-lvds-vdd {
		compatible = "regulator-fixed";
		regulator-name = "lvds_vdd";
		regulator-min-microvolt = <3300000>; // 00314 will boost 1.8V output to 3.3V 
		regulator-max-microvolt = <3300000>;
		gpio = <&pca9555_20 5 GPIO_ACTIVE_HIGH>;
		enable-active-high;
		regulator-always-on;
		vin-supply = <&reg_lvds_i2c_switch>;
		status = "okay";
	};	

	reg_pcie_pwren: regulator-pcie-pwren {
		compatible = "regulator-fixed";
		regulator-name = "pcie-pwren";
		regulator-min-microvolt = <1800000>;
		regulator-max-microvolt = <1800000>;
		gpio = <&pca9555_20 9 GPIO_ACTIVE_HIGH>;
		enable-active-high;
		regulator-always-on;
		status = "okay";
	};	

/*
	panel_lvds: panel-lvds {	
		compatible = "globaltech,gt_GLT0701024600IS2";
		backlight = <&panel_lvds_backlight>;
		power-supply = <&reg_lvds_vdd>;

		status = "okay";

		port {
			panel_lvds_in: endpoint {
				remote-endpoint = <&lvds_out0>;
			};
		};
	};
*/
	panel_lvds: panel-lvds {	
		compatible = "boe,ev121wxm-n10-1850";
		backlight = <&panel_lvds_backlight>;		
		power-supply = <&DISPLAY_reg>;

		port {
			panel_lvds_in: endpoint {
				remote-endpoint = <&lvds_out0>;
			};
		};
	};
};

&ipcc1 {
	status = "okay";
};

&ipcc2 {
	status = "okay";
};

&ahbsr {
	mbox_client: mailbox-client@1 {
		compatible = "mbox-cdev";
		reg = <1 0>;
		memory-region =  <&ipc_shmem_2>;
		mboxes = <&ipcc2 0>;
		mbox-names = "rx-tx";
		status = "okay";
	};
};

&arm_wdt {
	timeout-sec = <32>;
	status = "okay";
};

&scmi_regu {
	scmi_vddio1: regulator@0 {
		regulator-min-microvolt = <1800000>;
		regulator-max-microvolt = <3300000>;
	};
	scmi_vddio2: regulator@1 {
		reg = <VOLTD_SCMI_VDDIO2>;
		regulator-name = "vddio2";
	};
	scmi_vddio3: regulator@2 {
		reg = <VOLTD_SCMI_VDDIO3>;
		regulator-name = "vddio3";
	};
	scmi_vddio4: regulator@3 {
		reg = <VOLTD_SCMI_VDDIO4>;
		regulator-name = "vddio4";
	};
	scmi_vdd33ucpd: regulator@5 {
		reg = <VOLTD_SCMI_UCPD>;
		regulator-name = "vdd33ucpd";
	};
	scmi_vdda18adc: regulator@7 {
		reg = <VOLTD_SCMI_ADC>;
		regulator-name = "vdda18adc";
	};
	scmi_vddcore: regulator@11  {
		reg = <VOLTD_SCMI_STPMIC2_BUCK2>;
		regulator-name = "vddcore";
	};
	scmi_vddio1v8: regulator@12  {
		reg = <VOLTD_SCMI_STPMIC2_BUCK4>;
		regulator-name = "vddio_1v8";
	};
	scmi_v1v8: regulator@14  {
		reg = <VOLTD_SCMI_STPMIC2_BUCK5>;
		regulator-name = "v1v8";
	};
	scmi_v3v3: regulator@16 {
		reg = <VOLTD_SCMI_STPMIC2_BUCK7>;
		regulator-name = "v3v3";
	};
	scmi_vdd_emmc: regulator@18 {
		reg = <VOLTD_SCMI_STPMIC2_LDO2>;
		regulator-name = "vdd_emmc";
	};
	scmi_vdd3v3_usb: regulator@20 {
		reg = <VOLTD_SCMI_STPMIC2_LDO4>;
		regulator-name = "vdd3v3_usb";
	};
};


&timers10 {
	/delete-property/pinctrl-names;
	/delete-property/pinctrl-0;
	/delete-property/pinctrl-1;
	/delete-property/dmas;
	/delete-property/dma-names;
	status = "okay";

	pwm10: pwm {
		pinctrl-names = "default", "sleep";
		pinctrl-0 = <&tim10_pwm_pins_mx>;
		pinctrl-1 = <&tim10_pwm_sleep_pins_mx>;
		status = "okay";
	};	
};


// &timers12 {
// 	/delete-property/pinctrl-names;
// 	/delete-property/pinctrl-0;
// 	/delete-property/pinctrl-1;
// 	/delete-property/dmas;
// 	/delete-property/dma-names;	
// 	status = "disabled";

// 	pwm12: pwm {
// 		pinctrl-names = "default", "sleep";
// 		pinctrl-0 = <&tim12_pwm_pins_mx>;
// 		pinctrl-1 = <&tim12_pwm_sleep_pins_mx>;
// 		status = "disabled";
// 	};		
// };


&dsi {
	status = "disabled";
};
/* USER CODE END addons */

